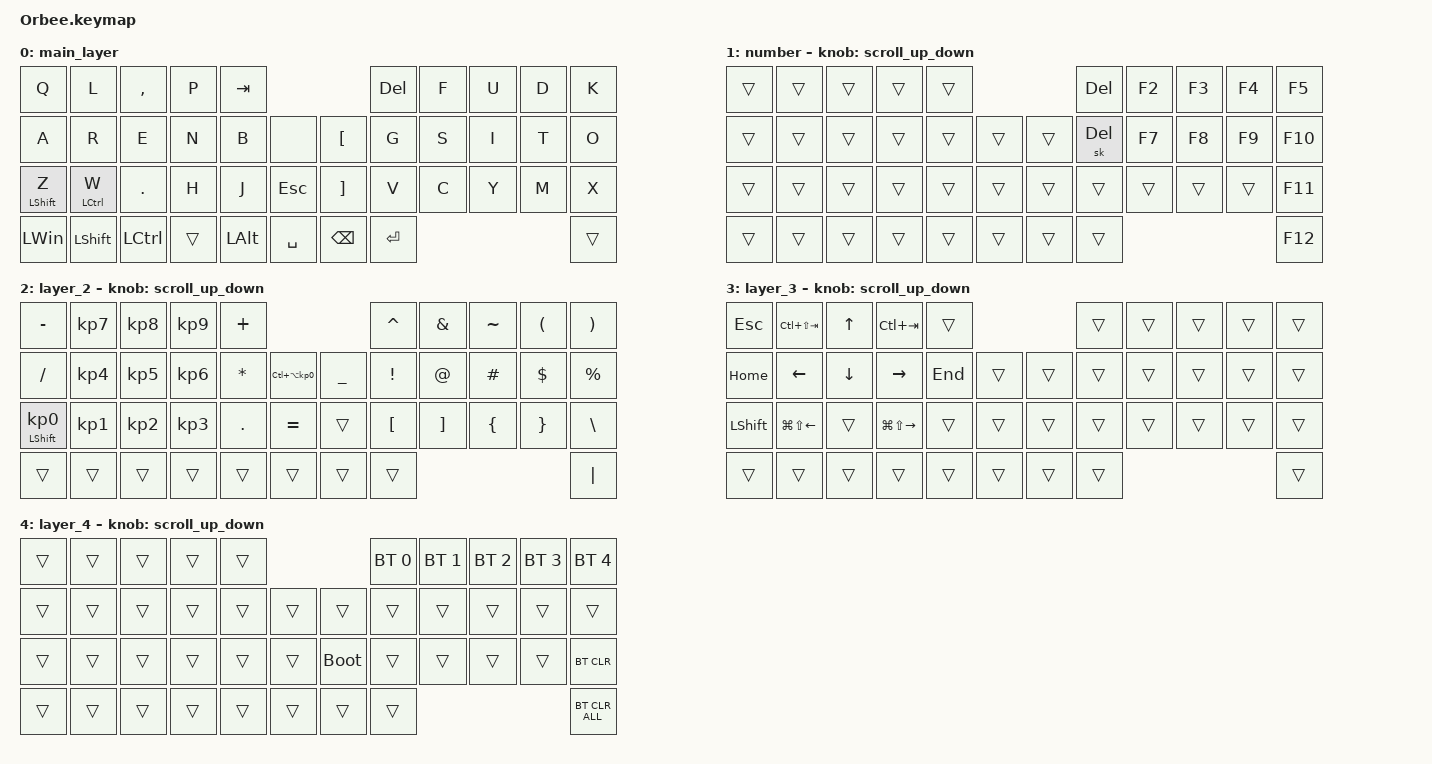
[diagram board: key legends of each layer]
#include <behaviors.dtsi>
#include <dt-bindings/zmk/bt.h>
#include <dt-bindings/zmk/keys.h>
#include <dt-bindings/zmk/pointing.h>

#define ZMK_POINTING_DEFAULT_SCRL_VAL 100
#define MOUSE 6

&mt {
    flavor = "balanced";
    quick-tap-ms = <0>;
};

/ {
    combos {
        compatible = "zmk,combos";

        under {
            bindings = <&kp UNDER>;
            key-positions = <25 26>;
        };

        minus {
            bindings = <&kp MINUS>;
            key-positions = <13 14>;
        };

        equal {
            bindings = <&kp EQUAL>;
            key-positions = <3 4>;
        };
    };

    behaviors {
        touch_behavior_1: touch1 {
            compatible = "zmk,behavior-momentary";
            label = "TouchKey1";
            bindings = <&kp A>;
        };

        touch_behavior_2: touch2 {
            compatible = "zmk,behavior-momentary";
            label = "TouchKey2";
            bindings = <&kp B>;
        };

        touch_behavior_3: touch3 {
            compatible = "zmk,behavior-momentary";
            label = "TouchKey3";
            bindings = <&mo 1>;
        };

        lt_to_layer_0: lt_to_layer_0 {
            compatible = "zmk,behavior-hold-tap";
            label = "LAYER_TAP_TO_0";
            bindings = <&mo>, <&to_layer_0>;

            #binding-cells = <2>;
            tapping-term-ms = <200>;
        };

        scroll_up_down: behavior_sensor_rotate_mouse_wheel_up_down {
            compatible = "zmk,behavior-sensor-rotate";
            #sensor-binding-cells = <0>;
            bindings = <&msc SCRL_UP>, <&msc SCRL_DOWN>;

            tap-ms = <20>;
        };
    };

    keymap {
        compatible = "zmk,keymap";

        main_layer {
            bindings = <
&kp Q         &kp L        &kp COMMA  &kp P   &kp TAB                              &kp DEL  &kp F  &kp U  &kp D  &kp K
&kp A         &kp R        &kp E      &kp N   &kp B         &none        &kp LBKT  &kp G    &kp S  &kp I  &kp T  &kp O
&mt LSHIFT Z  &mt LCTRL W  &kp DOT    &kp H   &kp J         &kp ESC      &kp RBKT  &kp V    &kp C  &kp Y  &kp M  &kp X
&kp LWIN      &kp LSHIFT   &kp LCTRL  &trans  &kp LEFT_ALT  &kp SPACE    &kp BSPC  &kp RET                       &trans
            >;
        };

        number {
            bindings = <
&trans  &trans  &trans  &trans  &trans                    &kp DEL  &kp F2  &kp F3  &kp F4  &kp F5
&trans  &trans  &trans  &trans  &trans  &trans    &trans  &sk DEL  &kp F7  &kp F8  &kp F9  &kp F10
&trans  &trans  &trans  &trans  &trans  &trans    &trans  &trans   &trans  &trans  &trans  &kp F11
&trans  &trans  &trans  &trans  &trans  &trans    &trans  &trans                           &kp F12
            >;

            sensor-bindings = <&scroll_up_down>;
        };

        layer_2 {
            bindings = <
&kp MINUS                   &kp KP_NUMBER_7  &kp KP_NUMBER_8  &kp KP_NUMBER_9  &kp PLUS                                                 &kp CARET         &kp AMPERSAND      &kp TILDE       &kp LEFT_PARENTHESIS  &kp RIGHT_PARENTHESIS
&kp SLASH                   &kp KP_NUMBER_4  &kp KP_NUMBER_5  &kp KP_NUMBER_6  &kp ASTERISK  &kp LC(LA(KP_NUMBER_0))    &kp UNDERSCORE  &kp EXCLAMATION   &kp AT_SIGN        &kp HASH        &kp DOLLAR            &kp PERCENT
&mt LEFT_SHIFT KP_NUMBER_0  &kp KP_NUMBER_1  &kp KP_NUMBER_2  &kp KP_NUMBER_3  &kp PERIOD    &kp EQUAL                  &trans          &kp LEFT_BRACKET  &kp RIGHT_BRACKET  &kp LEFT_BRACE  &kp RIGHT_BRACE       &kp BACKSLASH
&trans                      &trans           &trans           &trans           &trans        &trans                     &trans          &trans                                                                     &kp PIPE
            >;

            sensor-bindings = <&scroll_up_down>;
        };

        layer_3 {
            bindings = <
&kp ESCAPE      &kp LC(LS(TAB))         &kp UP_ARROW    &kp LC(TAB)              &trans                     &trans  &trans  &trans  &trans  &trans
&kp HOME        &kp LEFT_ARROW          &kp DOWN_ARROW  &kp RIGHT_ARROW          &kp END  &trans    &trans  &trans  &trans  &trans  &trans  &trans
&kp LEFT_SHIFT  &kp LG(LS(LEFT_ARROW))  &trans          &kp LG(LS(RIGHT_ARROW))  &trans   &trans    &trans  &trans  &trans  &trans  &trans  &trans
&trans          &trans                  &trans          &trans                   &trans   &trans    &trans  &trans                          &trans
            >;

            sensor-bindings = <&scroll_up_down>;
        };

        layer_4 {
            bindings = <
&trans  &trans  &trans  &trans  &trans                         &bt BT_SEL 0  &bt BT_SEL 1  &bt BT_SEL 2  &bt BT_SEL 3  &bt BT_SEL 4
&trans  &trans  &trans  &trans  &trans  &trans    &trans       &trans        &trans        &trans        &trans        &trans
&trans  &trans  &trans  &trans  &trans  &trans    &bootloader  &trans        &trans        &trans        &trans        &bt BT_CLR
&trans  &trans  &trans  &trans  &trans  &trans    &trans       &trans                                                  &bt BT_CLR_ALL
            >;

            sensor-bindings = <&scroll_up_down>;
        };
    };
};
